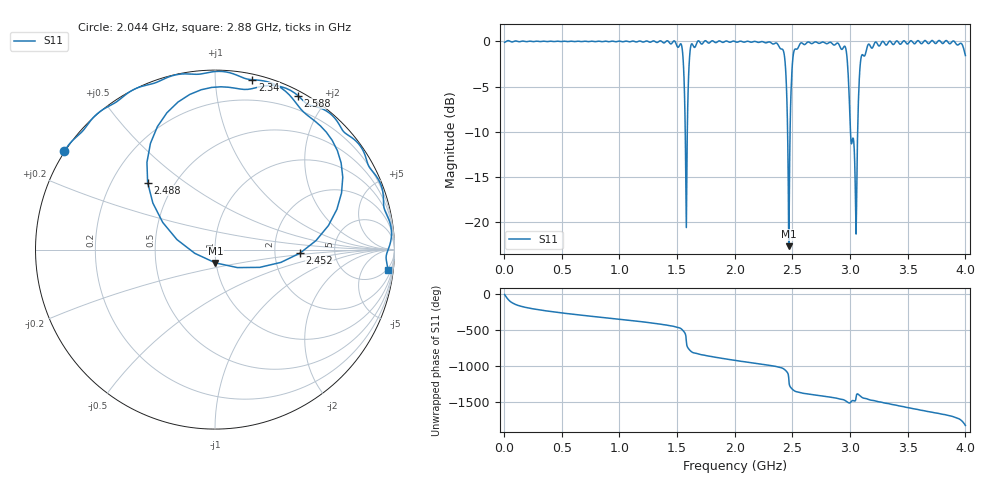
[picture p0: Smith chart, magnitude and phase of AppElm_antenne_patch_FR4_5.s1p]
! TOUCHSTONE file generated by CST MICROWAVE STUDIO
! Date and time: Tue Jun 14 12:33:47 2022
! Project name: AppElm_antenne_patch_FR4.cst
! Parameters = {L=45; W=58.5; e=0.035; h=1.6; lambda=0.190476; ls=120; w0=2.54; w1=0.8046; ws=120; y0=18; y1=23.8}
! Header version: 2018
! Port assignment regex: !\s*Touchstone port\s*([0-9]+)\s*=\s*(CST MWS port|CST DS port)\s*([0-9]+|Zmin|Zmax)\s*\(\"(.*)\"\)(\s*mode\s*([0-9]+))?.*
! Touchstone port assignment:
! Touchstone port 1 = CST MWS port 1 ("")
# GHz S MA R 50
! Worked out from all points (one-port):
!   1000 points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, 4 MHz to 4 GHz, reference 50 ohm
!   lowest |S11| = -22.6 dB at 2.468 GHz (marker M1), VSWR 1.16, Z = 49.7 - j7.38 ohm
!   |S11| at or under -10 dB: 1.57 GHz to 1.588 GHz (17.96 MHz wide, 1.14 % of centre); 2.458 GHz to 2.48 GHz (21.62 MHz wide, 0.876 % of centre); 3.004 GHz to 3.066 GHz (61.84 MHz wide, 2.04 % of centre)
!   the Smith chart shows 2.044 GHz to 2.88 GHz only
!   S11 on the Smith chart (normalised r, x): 2.044 GHz: -0.00, +0.30; 2.34 GHz: 0.04, +1.24; 2.452 GHz: 2.79, -0.14; 2.488 GHz: 0.35, +0.37; 2.588 GHz: 0.05, +1.67; 2.88 GHz: 4, -16
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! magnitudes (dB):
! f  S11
! 4 MHz  -0.1
! 504 MHz  0.0
! 1.004 GHz  0.0
! 1.504 GHz  -0.6
! 1.544 GHz  -0.8
! 1.564 GHz  -5.8
! 1.58 GHz  -20.6
! 1.592 GHz  -7.3
! 1.612 GHz  -1.1
! 1.632 GHz  -0.3
! 2.004 GHz  0.0
! 2.044 GHz  0.0
! 2.34 GHz  -0.3
! 2.424 GHz  -1.1
! 2.452 GHz  -6.5
! 2.468 GHz  -22.6
! 2.488 GHz  -5.5
! 2.504 GHz  -1.9
! 2.588 GHz  -0.2
! 2.88 GHz  -0.3
! 2.96 GHz  -0.7
! 3.004 GHz  -10.1
! 3.044 GHz  -15.5
! 3.064 GHz  -10.9
! 3.088 GHz  -2.6
! 3.108 GHz  -1.5
! 3.504 GHz  -0.2
! 4 GHz  -1.6
